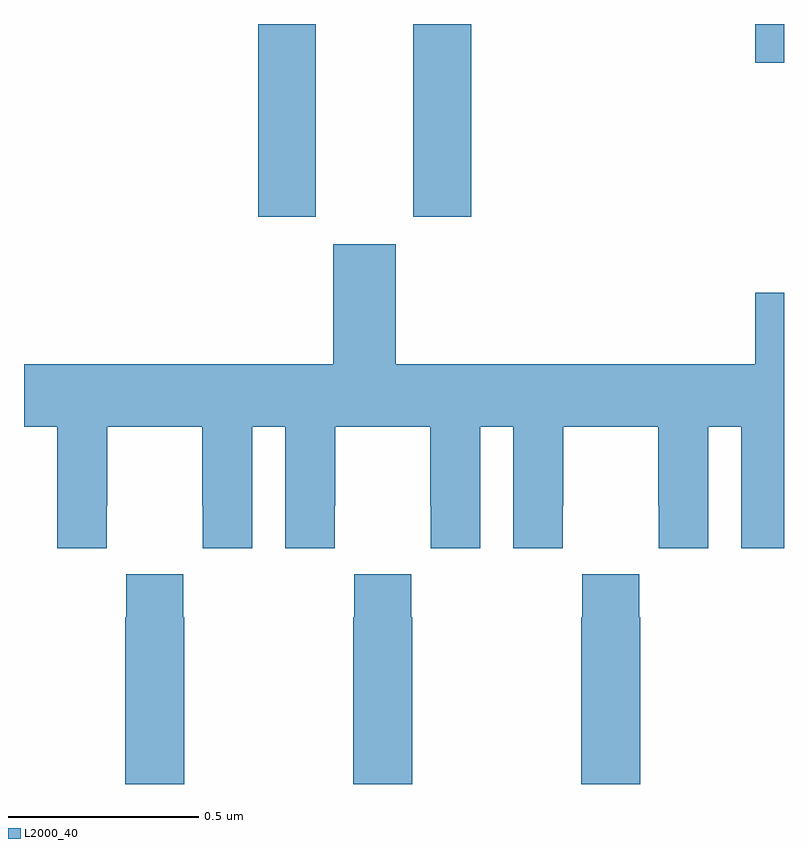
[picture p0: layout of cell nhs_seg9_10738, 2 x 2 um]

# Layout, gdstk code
import gdstk
lib = gdstk.Library(unit=1e-6, precision=1e-09)
def R(c, l, rs):  # rectangles x0, y0, x1, y1
    for r in rs: c.add(gdstk.rectangle(r[:2], r[2:], *l))
def P(c, l, *ps):  # polygons
    for p in ps: c.add(gdstk.Polygon(p, *l))
L2000_40 = (2000, 40)

nhs_seg9_10738 = lib.new_cell('nhs_seg9_10738')
R(nhs_seg9_10738, L2000_40, [(247.616,1176.993,247.768,1177.5), (248.024,1176.993,248.177,1177.5), (248.924,1177.398,249,1177.5)])
P(nhs_seg9_10738, L2000_40, [(247.218,1176.232),(247.219,1176.232),(247.219,1176.44),(247.469,1176.44),(247.469,1176.232),(247.47,1176.232),(247.47,1176.12),(247.6,1176.12),(247.6,1176.44),(247.688,1176.44),(247.688,1176.12),(247.818,1176.12),(247.818,1176.232),(247.819,1176.232),(247.819,1176.44),(248.069,1176.44),(248.069,1176.232),(248.07,1176.232),(248.07,1176.12),(248.2,1176.12),(248.2,1176.44),(248.288,1176.44),(248.288,1176.12),(248.418,1176.12),(248.418,1176.232),(248.419,1176.232),(248.419,1176.44),(248.669,1176.44),(248.669,1176.232),(248.67,1176.232),(248.67,1176.12),(248.8,1176.12),(248.8,1176.44),(248.888,1176.44),(248.888,1176.12),(249,1176.12),(249,1176.793),(248.924,1176.793),(248.924,1176.604),(247.978,1176.604),(247.978,1176.921),(247.814,1176.921),(247.814,1176.604),(247,1176.604),(247,1176.44),(247.088,1176.44),(247.088,1176.12),(247.218,1176.12)],
  [(248.022,1175.939),(248.019,1175.939),(248.019,1176.052),(247.869,1176.052),(247.869,1175.939),(247.867,1175.939),(247.867,1175.5),(248.022,1175.5)],
  [(247.422,1175.939),(247.419,1175.939),(247.419,1176.052),(247.269,1176.052),(247.269,1175.939),(247.267,1175.939),(247.267,1175.5),(247.422,1175.5)],
  [(248.622,1175.939),(248.619,1175.939),(248.619,1176.052),(248.469,1176.052),(248.469,1175.939),(248.467,1175.939),(248.467,1175.5),(248.622,1175.5)])

lib.write_gds('nhs_seg9_10738.gds')
